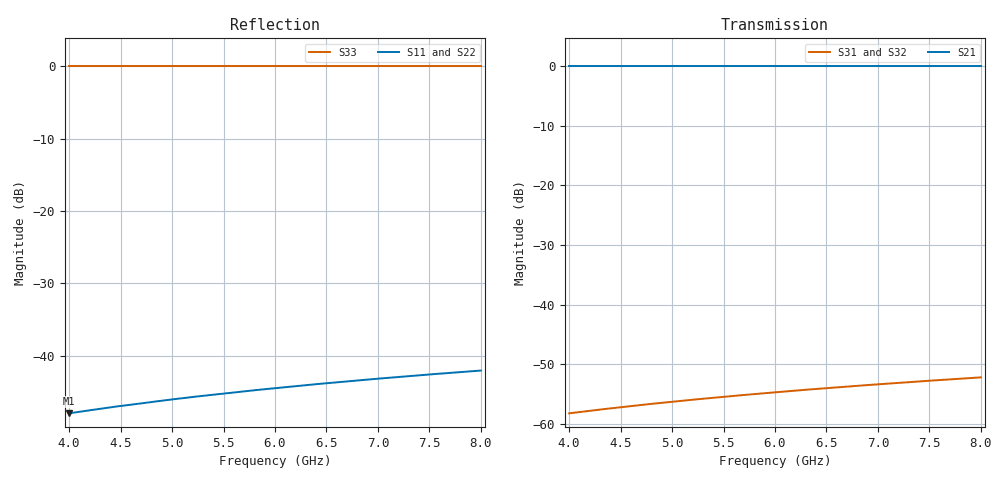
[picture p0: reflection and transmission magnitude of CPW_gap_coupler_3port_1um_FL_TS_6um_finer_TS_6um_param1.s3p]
! Sonnet Data File
! From: em Version : 15.52
! From Project: CPW_gap_coupler_3port_1um_FL_TS_6um_finer
! Data is De-embedded
! Data File Written: 08/14/2018 18:07:51
!< HDATE 08/14/2018 17:46:56
!< MDATE 08/14/2018 17:46:56
!< PARAMS
!< gap = 2.0
!< cpwS = 5.0
!< cpwS1 = 5.0
!< feedW = 12.0
!< feedS1 = 5.0
!< cond_length = 44.0
!< inner_length = 26.0
!< hangerW = 12.0000175
!< open_gap = 22.0
!< coupler_length = 50.0
!< END PARAMS
# GHZ S MA R 50.00000
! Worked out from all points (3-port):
!   201 points, 4 GHz to 8 GHz, reference 50 ohm
!   strongest paths, dB at 4 GHz, 5 GHz, 6 GHz, 7 GHz, 8 GHz:
!     S21: 0.0, 0.0, 0.0, 0.0, 0.0
!     S31: -58.2, -56.3, -54.7, -53.4, -52.2
!     S32: -58.2, -56.3, -54.7, -53.4, -52.2
!   lowest |S11| = -47.9 dB at 4 GHz (marker M1), VSWR 1.01, Z = 50 + j0.399 ohm
!   |S11| at or under -10 dB: start of sweep to end of sweep
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4  0.004018 82.6  1 -9.1  0.001224 88.0
   1 -9.1  0.004018 79.2  0.001224 80.7
   0.001224 88.0  0.001224 80.7  1 -2.4
4.4  0.004416 81.9  1 -10.0  0.001347 87.8
     1 -10.0  0.004416 78.1  0.001346 79.8
     0.001347 87.8  0.001346 79.8  1 -2.6
4.9  0.004911 81.0  1 -11.1  0.0015 87.6
     1 -11.1  0.004912 76.8  0.001499 78.6
     0.0015 87.6  0.001499 78.6  1 -2.9
5.36  0.005365 80.2  1 -12.2  0.001641 87.3
      1 -12.2  0.005365 75.5  0.00164 77.6
      0.001641 87.3  0.00164 77.6  1 -3.2
5.7  0.005699 79.5  1 -12.9  0.001745 87.2
     1 -12.9  0.0057 74.6  0.001744 76.8
     0.001745 87.2  0.001744 76.8  1 -3.4
6  0.005994 79.0  1 -13.6  0.001837 87.0
   1 -13.6  0.005994 73.8  0.001835 76.1
   0.001837 87.0  0.001835 76.1  1 -3.6
6.38  0.006365 78.3  1 -14.5  0.001953 86.8
      1 -14.5  0.006365 72.8  0.001952 75.2
      0.001953 86.8  0.001952 75.2  1 -3.8
6.92  0.006889 77.3  1 -15.7  0.002119 86.5
      1 -15.7  0.00689 71.3  0.002117 74.0
      0.002119 86.5  0.002117 74.0  1 -4.2
7.42  0.007372 76.4  1 -16.9  0.002273 86.3
      1 -16.9  0.007373 70.0  0.00227 72.8
      0.002273 86.3  0.00227 72.8  1 -4.5
8  0.007928 75.3  1 -18.2  0.002451 86.0
   1 -18.2  0.007929 68.4  0.002447 71.5
   0.002451 86.0  0.002447 71.5  1 -4.8
